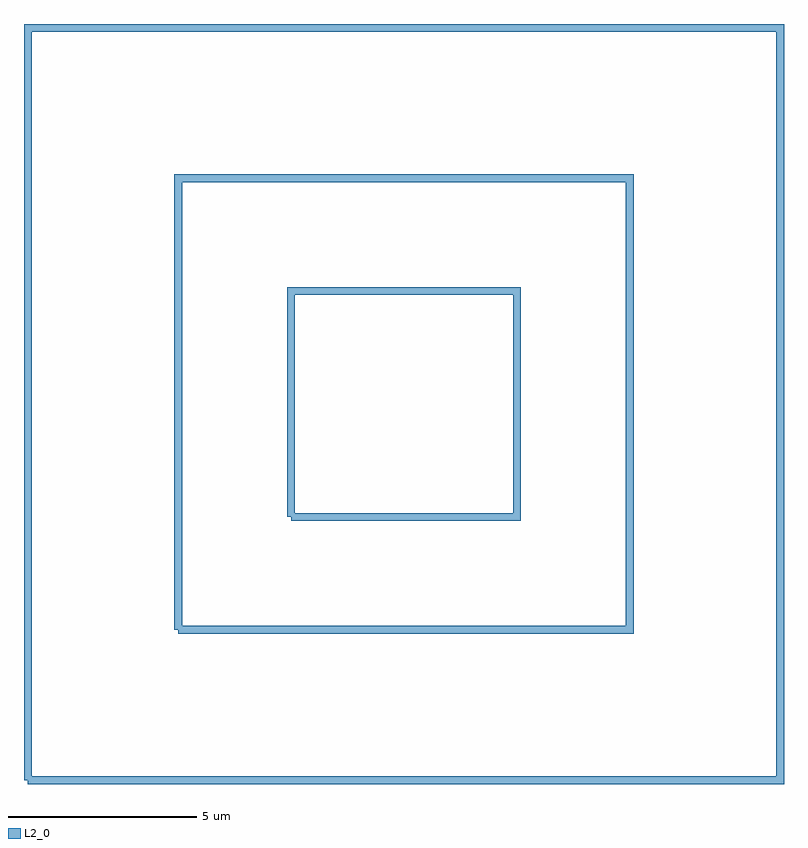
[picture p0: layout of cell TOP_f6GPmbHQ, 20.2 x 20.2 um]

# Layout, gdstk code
import gdstk
lib = gdstk.Library(unit=1e-6, precision=1e-09)
L2_0 = (2, 0)

top_f6gpmbhq = lib.new_cell('TOP_f6GPmbHQ')
top_f6gpmbhq.add(gdstk.FlexPath([(-3,-3),(-3,3),(3,3),(3,-3),(-3,-3)], 0.2, ends="flush", simple_path=True, layer=2, datatype=0))  # L2_0
top_f6gpmbhq.add(gdstk.FlexPath([(-6,-6),(-6,6),(6,6),(6,-6),(-6,-6)], 0.2, ends="flush", simple_path=True, layer=2, datatype=0))  # L2_0
top_f6gpmbhq.add(gdstk.FlexPath([(-10,-10),(-10,10),(10,10),(10,-10),(-10,-10)], 0.2, ends="flush", simple_path=True, layer=2, datatype=0))  # L2_0

lib.write_gds('TOP_f6GPmbHQ.gds')
